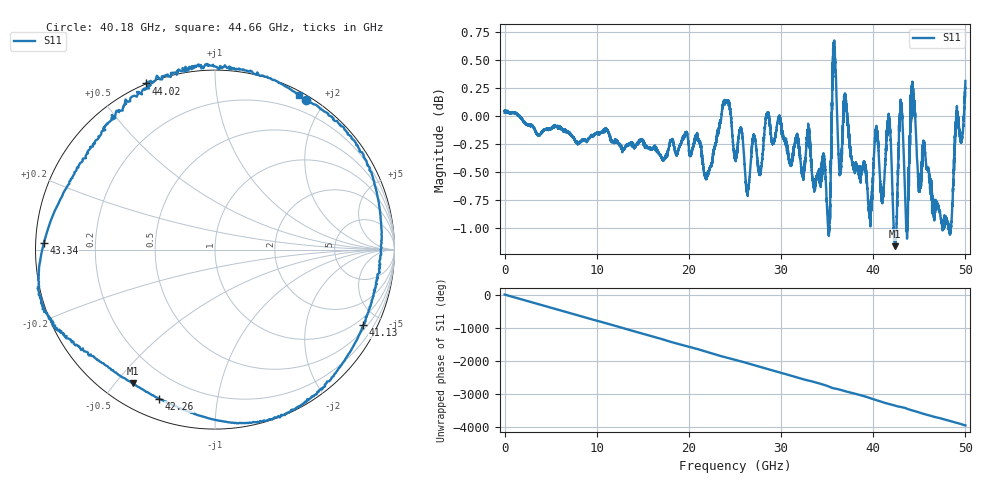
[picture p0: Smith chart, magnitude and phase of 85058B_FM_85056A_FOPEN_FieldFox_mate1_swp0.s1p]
!Created with skrf (http://scikit-rf.org).
# Hz S RI R 50.0
!freq ReS11 ImS11
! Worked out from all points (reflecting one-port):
!   10001 points, 300 kHz to 50 GHz, reference 50 ohm
!   lowest |S11| = -1.2 dB at 42.37 GHz (marker M1), VSWR 14.93, Z = 4.4 - j27.9 ohm
!   phase of S11 starts at 0 deg and turns -3961 deg over the sweep
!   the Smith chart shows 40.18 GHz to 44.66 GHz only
!   S11 on the Smith chart (normalised r, x): 40.18 GHz: 0.05, +1.78; 41.13 GHz: 0.68, -4.04; 42.26 GHz: 0.09, -0.69; 43.34 GHz: 0.02, +0.02; 44.02 GHz: -0.00, +0.67; 44.66 GHz: 0.04, +1.68
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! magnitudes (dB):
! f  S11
! 300 kHz  0.0
! 6.25 GHz  -0.1
! 12.5 GHz  -0.3
! 18.75 GHz  -0.3
! 21.96 GHz  -0.5
! 24.07 GHz  0.1
! 25 GHz  -0.4
! 31.25 GHz  -0.4
! 32.98 GHz  -0.1
! 35.13 GHz  -1.0
! 35.79 GHz  0.6
! 36.37 GHz  -0.5
! 36.98 GHz  0.2
! 37.5 GHz  -0.3
! 39.64 GHz  -0.9
! 40.18 GHz  -0.2
! 41.13 GHz  -0.7
! 41.72 GHz  0.0
! 42.26 GHz  -1.0
! 42.37 GHz  -1.2
! 42.97 GHz  0.1
! 43.34 GHz  -0.4
! 43.75 GHz  -0.9
! 44.02 GHz  0.0
! 44.66 GHz  -0.2
! 48.27 GHz  -1.0
! 49.03 GHz  0.0
! 50 GHz  0.3
